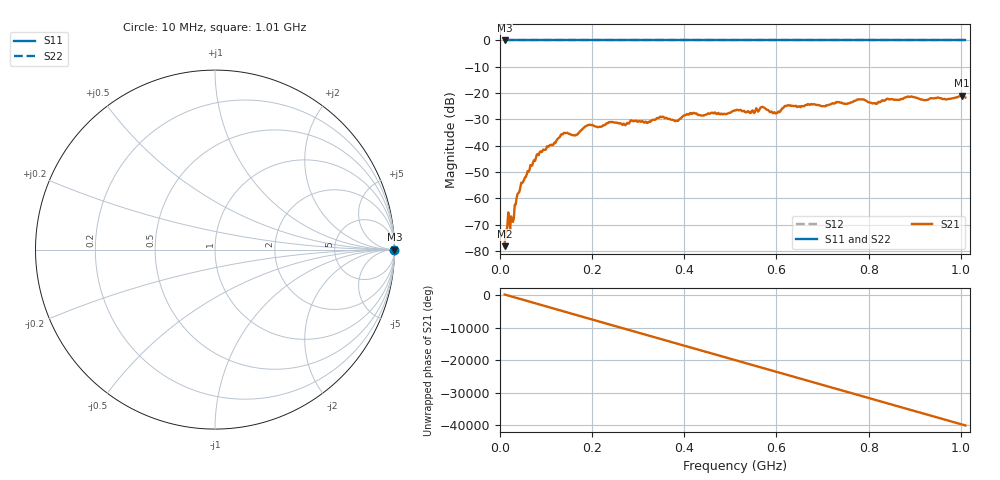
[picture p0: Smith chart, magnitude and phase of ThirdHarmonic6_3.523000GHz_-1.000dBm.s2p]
! 8/17/2025 11:33:43 AM
! C:\ANRITSUVNA\TEMP\TEMP.S2P
! CHANNEL.1
! TR.MEASUREMENT
! RAW.DATA
! RF.CORRECTION.OFF
! AVERAGING.OFF
! IF.BANDWIDTH: 5KHZ
! SWEEPTYPE:  FREQ.SWEEP(Linear)
! Reference Plane Port Info
! PORT:  PORT1  PORT2
! DISTANCE:  0  m  0  m
! TIME:  0  s  0  s
! PHASE.OFFSET:  0  deg.  0  deg.
! LOSS:  0  dB  0  dB
! REF.LOSS:  0  dB  0  dB
! REF.FREQ:  0  Hz  0  Hz
! Power Info
! POWER:  -20  dBm  -20  dBm
! EFF.POWER:  -20  dBm  -20  dBm
! SOURCE.ATTEN:  0  dB  0  dB
! TEST.ATTEN:  0  dB  0  dB
# GHZ S RI R 50.0
! FREQ.GHZ  S11RE  S11IM  S21RE  S21IM  S12RE  S12IM  S22RE  S22IM
!; PortSelection: Port_12
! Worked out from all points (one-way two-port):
!   501 points, 10 MHz to 1.01 GHz, reference 50 ohm
!   highest |S21| = -21.03 dB at 1.002 GHz (marker M1); lowest = -78.2 dB at 10 MHz (marker M2)
!   lowest |S11| = 0.0 dB at 10 MHz (marker M3)
!   |S11| at or under -10 dB: nowhere
!   |S22| runs from 0.0 to 0.0 dB; largest |S21 - S12| = 1.1
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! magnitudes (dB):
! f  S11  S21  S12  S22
! 10 MHz  0.0  -78.2  0.0  0.0
! 16 MHz  0.0  -70.4  0.0  0.0
! 26 MHz  0.0  -68.5  0.0  0.0
! 42 MHz  0.0  -57.5  0.0  0.0
! 82 MHz  0.0  -43.2  0.0  0.0
! 136 MHz  0.0  -35.7  0.0  0.0
! 164 MHz  0.0  -36.1  0.0  0.0
! 178 MHz  0.0  -33.8  0.0  0.0
! 344 MHz  0.0  -29.6  0.0  0.0
! 384 MHz  0.0  -30.5  0.0  0.0
! 416 MHz  0.0  -27.9  0.0  0.0
! 510 MHz  0.0  -26.6  0.0  0.0
! 548 MHz  0.0  -26.6  0.0  0.0
! 570 MHz  0.0  -25.2  0.0  0.0
! 596 MHz  0.0  -27.3  0.0  0.0
! 622 MHz  0.0  -24.9  0.0  0.0
! 678 MHz  0.0  -24.3  0.0  0.0
! 780 MHz  0.0  -22.4  0.0  0.0
! 814 MHz  0.0  -23.8  0.0  0.0
! 844 MHz  0.0  -22.4  0.0  0.0
! 1.002 GHz  0.0  -21.0  0.0  0.0
! 1.01 GHz  0.0  -21.7  0.0  0.0
